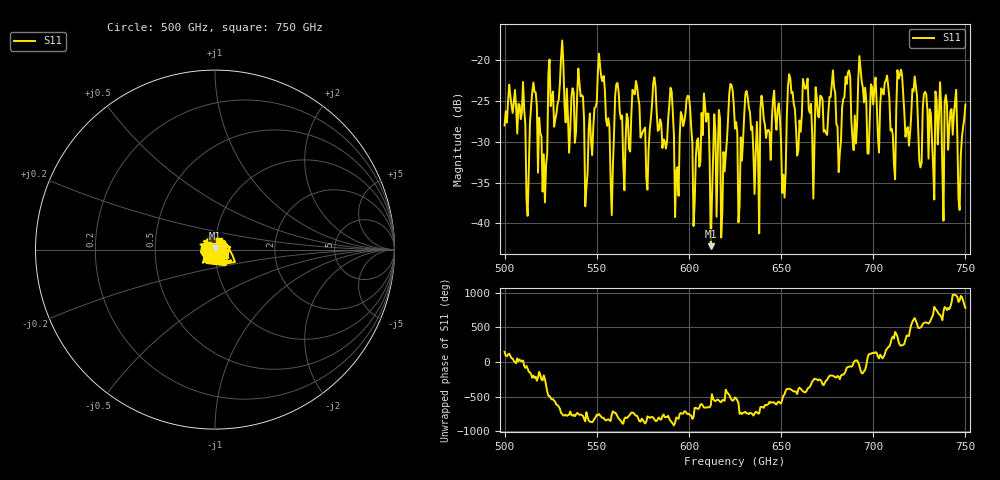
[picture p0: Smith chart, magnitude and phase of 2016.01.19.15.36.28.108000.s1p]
!Created with skrf (http://scikit-rf.org).
# GHz S RI R 50.0
!freq ReS11 ImS11
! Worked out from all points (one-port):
!   401 points, 500 GHz to 750 GHz, reference 50 ohm
!   lowest |S11| = -42.8 dB at 611.9 GHz (marker M1), VSWR 1.01, Z = 49.9 + j0.722 ohm
!   |S11| at or under -10 dB: start of sweep to end of sweep
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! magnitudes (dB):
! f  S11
! 500 GHz  -28.0
! 512.5 GHz  -39.1
! 516.2 GHz  -24.0
! 521.9 GHz  -37.4
! 525 GHz  -25.7
! 531.2 GHz  -17.7
! 541.2 GHz  -24.5
! 544.4 GHz  -35.7
! 551.9 GHz  -21.0
! 558.1 GHz  -39.0
! 562.5 GHz  -26.4
! 590 GHz  -23.4
! 593.8 GHz  -33.1
! 599.4 GHz  -24.4
! 611.9 GHz  -42.8
! 625 GHz  -28.4
! 636.9 GHz  -27.6
! 647.5 GHz  -28.6
! 651.2 GHz  -34.0
! 656.2 GHz  -24.0
! 687.5 GHz  -22.1
! 707.5 GHz  -21.9
! 710.6 GHz  -29.2
! 714.4 GHz  -21.9
! 718.8 GHz  -28.2
! 743.8 GHz  -26.7
! 746.9 GHz  -38.4
! 750 GHz  -25.5
